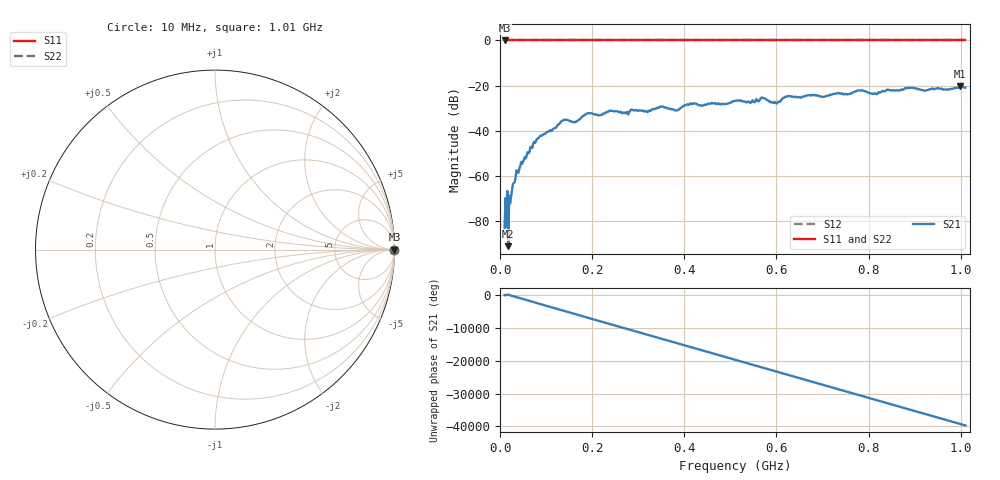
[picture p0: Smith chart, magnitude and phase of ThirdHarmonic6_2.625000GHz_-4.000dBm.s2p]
! 8/17/2025 5:49:53 AM
! C:\ANRITSUVNA\TEMP\TEMP.S2P
! CHANNEL.1
! TR.MEASUREMENT
! RAW.DATA
! RF.CORRECTION.OFF
! AVERAGING.OFF
! IF.BANDWIDTH: 5KHZ
! SWEEPTYPE:  FREQ.SWEEP(Linear)
! Reference Plane Port Info
! PORT:  PORT1  PORT2
! DISTANCE:  0  m  0  m
! TIME:  0  s  0  s
! PHASE.OFFSET:  0  deg.  0  deg.
! LOSS:  0  dB  0  dB
! REF.LOSS:  0  dB  0  dB
! REF.FREQ:  0  Hz  0  Hz
! Power Info
! POWER:  -20  dBm  -20  dBm
! EFF.POWER:  -20  dBm  -20  dBm
! SOURCE.ATTEN:  0  dB  0  dB
! TEST.ATTEN:  0  dB  0  dB
# GHZ S RI R 50.0
! FREQ.GHZ  S11RE  S11IM  S21RE  S21IM  S12RE  S12IM  S22RE  S22IM
!; PortSelection: Port_12
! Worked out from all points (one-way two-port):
!   501 points, 10 MHz to 1.01 GHz, reference 50 ohm
!   highest |S21| = -20.33 dB at 998 MHz (marker M1); lowest = -91.2 dB at 18 MHz (marker M2)
!   lowest |S11| = 0.0 dB at 10 MHz (marker M3)
!   |S11| at or under -10 dB: nowhere
!   |S22| runs from 0.0 to 0.0 dB; largest |S21 - S12| = 1.1
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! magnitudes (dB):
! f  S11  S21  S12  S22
! 10 MHz  0.0  -83.2  0.0  0.0
! 16 MHz  0.0  -66.7  0.0  0.0
! 18 MHz  0.0  -91.2  0.0  0.0
! 32 MHz  0.0  -62.8  0.0  0.0
! 38 MHz  0.0  -58.4  0.0  0.0
! 76 MHz  0.0  -45.5  0.0  0.0
! 136 MHz  0.0  -35.6  0.0  0.0
! 162 MHz  0.0  -36.2  0.0  0.0
! 178 MHz  0.0  -33.8  0.0  0.0
! 194 MHz  0.0  -32.3  0.0  0.0
! 322 MHz  0.0  -31.4  0.0  0.0
! 344 MHz  0.0  -29.9  0.0  0.0
! 384 MHz  0.0  -30.9  0.0  0.0
! 416 MHz  0.0  -28.2  0.0  0.0
! 510 MHz  0.0  -26.8  0.0  0.0
! 570 MHz  0.0  -25.3  0.0  0.0
! 598 MHz  0.0  -27.6  0.0  0.0
! 624 MHz  0.0  -24.7  0.0  0.0
! 678 MHz  0.0  -24.3  0.0  0.0
! 844 MHz  0.0  -22.0  0.0  0.0
! 998 MHz  0.0  -20.3  0.0  0.0
! 1.01 GHz  0.0  -20.9  0.0  0.0
